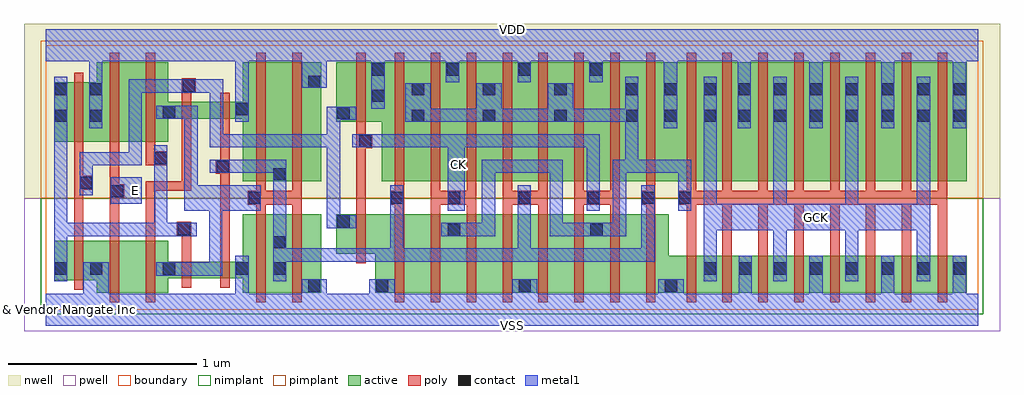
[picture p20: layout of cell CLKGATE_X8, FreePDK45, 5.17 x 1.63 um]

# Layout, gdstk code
import gdstk
lib = gdstk.Library(unit=1e-6, precision=1e-10)
def R(c, l, rs):  # rectangles x0, y0, x1, y1
    for r in rs: c.add(gdstk.rectangle(r[:2], r[2:], *l))
def A(c, l, x, y, w, h, nx, ny, dx, dy):  # array of equal rectangles
    R(c, l, [(x+i*dx, y+j*dy, x+i*dx+w, y+j*dy+h) for i in range(nx) for j in range(ny)])
def P(c, l, *ps):  # polygons
    for p in ps: c.add(gdstk.Polygon(p, *l))
active = (1, 0)
pwell = (2, 0)
nwell = (3, 0)
nimplant = (4, 0)
pimplant = (5, 0)
poly = (9, 0)
contact = (10, 0)
metal1 = (11, 0)
boundary = (235, 0)

clkgate_x8 = lib.new_cell('CLKGATE_X8')
P(clkgate_x8, active, [(0.045,0.155),(0.27,0.155),(0.27,0.09),(0.65,0.09),(0.65,0.165),(1.045,0.165),(1.045,0.09),(1.46,0.09),(1.46,0.505),(1.045,0.505),(1.045,0.255),(0.65,0.255),(0.65,0.365),(0.045,0.365)],
  [(0.045,0.89),(0.65,0.89),(0.65,1.01),(1.045,1.01),(1.045,0.68),(1.46,0.68),(1.46,1.31),(1.045,1.31),(1.045,1.1),(0.65,1.1),(0.65,1.31),(0.27,1.31),(0.27,1.205),(0.045,1.205)],
  [(1.54,0.295),(1.745,0.295),(1.745,0.09),(4.88,0.09),(4.88,0.285),(3.3,0.285),(3.3,0.505),(1.54,0.505)],
  [(1.54,0.995),(1.78,0.995),(1.78,0.68),(4.88,0.68),(4.88,1.31),(1.54,1.31)])
R(clkgate_x8, pwell, [(-0.115,-0.115,5.055,0.59)])
R(clkgate_x8, nwell, [(-0.115,0.59,5.055,1.515)])
R(clkgate_x8, nimplant, [(-0.025,-0.025,4.965,0.59)])
R(clkgate_x8, pimplant, [(-0.025,0.59,4.965,1.425)])
P(clkgate_x8, poly, [(0.15,0.105),(0.2,0.105),(0.2,0.635),(0.25,0.635),(0.25,0.71),(0.2,0.71),(0.2,1.255),(0.15,1.255)],
  [(0.34,0.04),(0.39,0.04),(0.39,0.59),(0.415,0.59),(0.415,0.665),(0.39,0.665),(0.39,1.36),(0.34,1.36)],
  [(0.53,0.765),(0.645,0.765),(0.645,0.84),(0.58,0.84),(0.58,1.36),(0.53,1.36)],
  [(0.695,0.39),(0.72,0.39),(0.72,0.115),(0.77,0.115),(0.77,0.465),(0.695,0.465)],
  [(0.53,0.04),(0.58,0.04),(0.58,0.63),(0.77,0.63),(0.77,1.15),(0.795,1.15),(0.795,1.225),(0.72,1.225),(0.72,0.68),(0.53,0.68)],
  [(0.9,0.72),(0.925,0.72),(0.925,0.115),(0.975,0.115),(0.975,1.15),(0.925,1.15),(0.925,0.795),(0.9,0.795)],
  [(1.07,0.555),(1.115,0.555),(1.115,0.04),(1.165,0.04),(1.165,0.555),(1.305,0.555),(1.305,0.04),(1.355,0.04),(1.355,1.36),(1.305,1.36),(1.305,0.63),(1.165,0.63),(1.165,1.36),(1.115,1.36),(1.115,0.63),(1.07,0.63)],
  [(1.645,0.245),(1.695,0.245),(1.695,0.855),(1.73,0.855),(1.73,0.93),(1.695,0.93),(1.695,1.36),(1.645,1.36)],
  [(1.825,0.555),(1.85,0.555),(1.85,0.04),(1.9,0.04),(1.9,1.36),(1.85,1.36),(1.85,0.63),(1.825,0.63)],
  [(2.04,0.04),(2.09,0.04),(2.09,0.555),(2.23,0.555),(2.23,0.04),(2.28,0.04),(2.28,1.36),(2.23,1.36),(2.23,0.63),(2.09,0.63),(2.09,1.36),(2.04,1.36)],
  [(2.42,0.04),(2.47,0.04),(2.47,0.555),(2.61,0.555),(2.61,0.04),(2.66,0.04),(2.66,1.36),(2.61,1.36),(2.61,0.63),(2.47,0.63),(2.47,1.36),(2.42,1.36)],
  [(2.8,0.04),(2.85,0.04),(2.85,0.555),(2.99,0.555),(2.99,0.04),(3.04,0.04),(3.04,1.36),(2.99,1.36),(2.99,0.63),(2.85,0.63),(2.85,1.36),(2.8,1.36)],
  [(3.155,0.555),(3.18,0.555),(3.18,0.04),(3.23,0.04),(3.23,1.36),(3.18,1.36),(3.18,0.63),(3.155,0.63)],
  [(3.35,0.555),(3.395,0.555),(3.395,0.04),(3.445,0.04),(3.445,0.555),(3.585,0.555),(3.585,0.04),(3.635,0.04),(3.635,0.555),(3.775,0.555),(3.775,0.04),(3.825,0.04),(3.825,0.555),(3.965,0.555),(3.965,0.04),(4.015,0.04),(4.015,0.555),(4.155,0.555),(4.155,0.04),(4.205,0.04),(4.205,0.555),(4.345,0.555),(4.345,0.04),(4.395,0.04),(4.395,0.555),(4.535,0.555),(4.535,0.04),(4.585,0.04),(4.585,0.555),(4.725,0.555),(4.725,0.04),(4.775,0.04),(4.775,1.36),(4.725,1.36),(4.725,0.63),(4.585,0.63),(4.585,1.36),(4.535,1.36),(4.535,0.63),(4.395,0.63),(4.395,1.36),(4.345,1.36),(4.345,0.63),(4.205,0.63),(4.205,1.36),(4.155,1.36),(4.155,0.63),(4.015,0.63),(4.015,1.36),(3.965,1.36),(3.965,0.63),(3.825,0.63),(3.825,1.36),(3.775,1.36),(3.775,0.63),(3.635,0.63),(3.635,1.36),(3.585,1.36),(3.585,0.63),(3.445,0.63),(3.445,1.36),(3.395,1.36),(3.395,0.63),(3.35,0.63)])
A(clkgate_x8, contact, 3.86, 0.185, 0.065, 0.065, 6, 1, 0.19, 0)
A(clkgate_x8, contact, 2.315, 0.995, 0.065, 0.065, 3, 2, 0.38, 0.14)
A(clkgate_x8, contact, 3.67, 0.995, 0.065, 0.065, 7, 2, 0.19, 0.14)
A(clkgate_x8, contact, 2.125, 1.24, 0.065, 0.065, 3, 1, 0.38, 0)
R(clkgate_x8, contact, [(1.39,0.095,1.455,0.16), (1.75,0.095,1.815,0.16), (2.505,0.095,2.57,0.16), (3.28,0.095,3.345,0.16), (0.05,0.185,0.115,0.25), (0.235,0.185,0.3,0.25), (0.62,0.185,0.685,0.25), (1.01,0.185,1.075,0.25), (1.205,0.185,1.27,0.25), (3.485,0.185,3.55,0.25), (3.675,0.185,3.74,0.25), (1.205,0.325,1.27,0.39), (2.13,0.39,2.195,0.455), (2.885,0.39,2.95,0.455), (0.7,0.395,0.765,0.46), (1.545,0.435,1.61,0.5), (1.075,0.56,1.14,0.625), (1.83,0.56,1.895,0.625), (2.13,0.56,2.195,0.625), (2.505,0.56,2.57,0.625), (2.87,0.56,2.935,0.625), (3.16,0.56,3.225,0.625), (3.355,0.56,3.42,0.625), (0.345,0.595,0.41,0.66), (0.18,0.64,0.245,0.705), (1.205,0.685,1.27,0.75), (0.905,0.725,0.97,0.79), (0.575,0.77,0.64,0.835), (1.66,0.86,1.725,0.925), (0.05,0.995,0.115,1.06), (0.235,0.995,0.3,1.06), (1.94,0.995,2.005,1.06), (3.28,0.995,3.345,1.06), (3.485,0.995,3.55,1.06), (1.545,1.01,1.61,1.075), (0.62,1.015,0.685,1.08), (1.01,1.03,1.075,1.095), (1.73,1.1,1.795,1.165), (0.05,1.135,0.115,1.2), (0.235,1.135,0.3,1.2), (1.94,1.135,2.005,1.2), (3.28,1.135,3.345,1.2), (3.485,1.135,3.55,1.2), (0.725,1.155,0.79,1.22), (1.39,1.175,1.455,1.24), (1.73,1.24,1.795,1.305)])
R(clkgate_x8, metal1, [(0.345,0.56,0.51,0.7)])
P(clkgate_x8, metal1, [(0.045,0.15),(0.115,0.15),(0.115,0.39),(0.8,0.39),(0.8,0.46),(0.645,0.46),(0.645,0.87),(0.575,0.87),(0.575,0.46),(0.115,0.46),(0.115,1.235),(0.045,1.235)],
  [(0.585,1.01),(0.735,1.01),(0.735,0.525),(0.865,0.525),(0.865,0.25),(0.585,0.25),(0.585,0.18),(0.935,0.18),(0.935,0.525),(1.14,0.525),(1.14,0.66),(0.805,0.66),(0.805,1.08),(0.585,1.08)],
  [(1.56,1.005),(1.645,1.005),(1.645,1.075),(1.49,1.075),(1.49,0.93),(0.94,0.93),(0.94,1.22),(0.44,1.22),(0.44,0.835),(0.18,0.835),(0.18,0.605),(0.25,0.605),(0.25,0.765),(0.51,0.765),(0.51,1.15),(0.87,1.15),(0.87,0.86),(1.49,0.86),(1.49,0.43),(1.645,0.43),(1.645,0.5),(1.56,0.5)],
  [(1.625,0.86),(2.13,0.86),(2.13,0.525),(2.22,0.525),(2.22,0.86),(2.865,0.86),(2.865,0.525),(2.935,0.525),(2.935,0.93),(1.625,0.93)],
  [(0.87,0.725),(1.205,0.725),(1.205,0.15),(1.275,0.15),(1.275,0.255),(3.225,0.255),(3.225,0.66),(3.155,0.66),(3.155,0.325),(2.57,0.325),(2.57,0.66),(2.5,0.66),(2.5,0.325),(1.895,0.325),(1.895,0.66),(1.825,0.66),(1.825,0.325),(1.275,0.325),(1.275,0.795),(0.87,0.795)],
  [(1.905,0.995),(3.07,0.995),(3.07,0.795),(3.005,0.795),(3.005,0.46),(2.74,0.46),(2.74,0.795),(2.31,0.795),(2.31,0.46),(2.095,0.46),(2.095,0.39),(2.38,0.39),(2.38,0.725),(2.67,0.725),(2.67,0.39),(3.075,0.39),(3.075,0.725),(3.35,0.725),(3.35,0.525),(3.42,0.525),(3.42,0.795),(3.14,0.795),(3.14,1.235),(3.07,1.235),(3.07,1.065),(2.795,1.065),(2.795,1.2),(2.66,1.2),(2.66,1.065),(2.415,1.065),(2.415,1.2),(2.28,1.2),(2.28,1.065),(2.04,1.065),(2.04,1.2),(1.905,1.2)],
  [(3.485,0.15),(3.555,0.15),(3.555,0.42),(3.855,0.42),(3.855,0.15),(3.925,0.15),(3.925,0.42),(4.235,0.42),(4.235,0.15),(4.305,0.15),(4.305,0.42),(4.615,0.42),(4.615,0.15),(4.685,0.15),(4.685,1.235),(4.615,1.235),(4.615,0.56),(4.305,0.56),(4.305,1.235),(4.235,1.235),(4.235,0.56),(3.925,0.56),(3.925,1.235),(3.855,1.235),(3.855,0.56),(3.555,0.56),(3.555,1.235),(3.485,1.235)],
  [(0,-0.085),(4.94,-0.085),(4.94,0.085),(4.875,0.085),(4.875,0.285),(4.805,0.285),(4.805,0.085),(4.495,0.085),(4.495,0.285),(4.425,0.285),(4.425,0.085),(4.115,0.085),(4.115,0.285),(4.045,0.285),(4.045,0.085),(3.74,0.085),(3.74,0.285),(3.67,0.285),(3.67,0.085),(3.38,0.085),(3.38,0.16),(3.245,0.16),(3.245,0.085),(2.605,0.085),(2.605,0.16),(2.47,0.16),(2.47,0.085),(1.85,0.085),(1.85,0.16),(1.715,0.16),(1.715,0.085),(1.49,0.085),(1.49,0.16),(1.355,0.16),(1.355,0.085),(1.075,0.085),(1.075,0.285),(1.005,0.285),(1.005,0.085),(0.335,0.085),(0.335,0.25),(0.2,0.25),(0.2,0.085),(0,0.085)],
  [(0,1.315),(0.23,1.315),(0.23,0.96),(0.3,0.96),(0.3,1.315),(1.005,1.315),(1.005,0.995),(1.075,0.995),(1.075,1.315),(1.355,1.315),(1.355,1.175),(1.49,1.175),(1.49,1.315),(1.725,1.315),(1.725,1.065),(1.795,1.065),(1.795,1.315),(2.12,1.315),(2.12,1.205),(2.19,1.205),(2.19,1.315),(2.5,1.315),(2.5,1.205),(2.57,1.205),(2.57,1.315),(2.88,1.315),(2.88,1.205),(2.95,1.205),(2.95,1.315),(3.275,1.315),(3.275,0.96),(3.345,0.96),(3.345,1.315),(3.665,1.315),(3.665,0.96),(3.735,0.96),(3.735,1.315),(4.045,1.315),(4.045,0.96),(4.115,0.96),(4.115,1.315),(4.425,1.315),(4.425,0.96),(4.495,0.96),(4.495,1.315),(4.805,1.315),(4.805,0.96),(4.875,0.96),(4.875,1.315),(4.94,1.315),(4.94,1.485),(0,1.485)])
R(clkgate_x8, boundary, [(0,0,4.94,1.4)])
clkgate_x8.add(gdstk.Label('CK', (2.185,0.77), layer=11, texttype=0))
clkgate_x8.add(gdstk.Label('E', (0.475,0.63), layer=11, texttype=0))
clkgate_x8.add(gdstk.Label('GCK', (4.085,0.49), layer=11, texttype=0))
clkgate_x8.add(gdstk.Label('VDD', (2.47,1.485), layer=11, texttype=0))
clkgate_x8.add(gdstk.Label('VSS', (2.47,-0.085), layer=11, texttype=0))
clkgate_x8.add(gdstk.Label('& Vendor Nangate Inc', (0,0), layer=63, texttype=63))
clkgate_x8.add(gdstk.Label('& Product Open Cell Library', (0,0), layer=63, texttype=63))
clkgate_x8.add(gdstk.Label('& Version 2010_12', (0,0), layer=63, texttype=63))
clkgate_x8.add(gdstk.Label('& Instance CLKGATE_X8', (0,0), layer=63, texttype=63))

lib.write_gds('CLKGATE_X8.gds')
